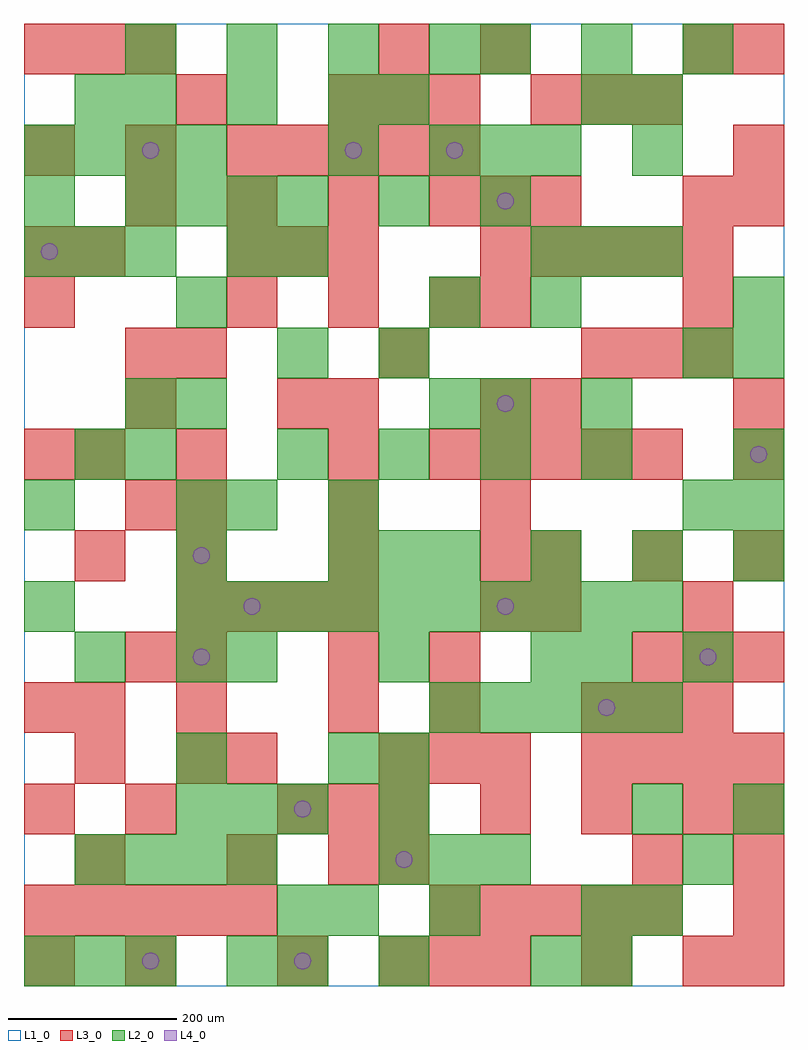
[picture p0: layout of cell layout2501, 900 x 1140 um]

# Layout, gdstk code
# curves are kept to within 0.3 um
import gdstk
lib = gdstk.Library(unit=1e-6, precision=1e-09)
def R(c, l, rs):  # rectangles x0, y0, x1, y1
    for r in rs: c.add(gdstk.rectangle(r[:2], r[2:], *l))
def A(c, l, x, y, w, h, nx, ny, dx, dy):  # array of equal rectangles
    R(c, l, [(x+i*dx, y+j*dy, x+i*dx+w, y+j*dy+h) for i in range(nx) for j in range(ny)])
def P(c, l, *ps):  # polygons
    for p in ps: c.add(gdstk.Polygon(p, *l))
L1_0 = (1, 0)
L2_0 = (2, 0)
L3_0 = (3, 0)
L4_0 = (4, 0)

layout2501 = lib.new_cell('layout2501')
R(layout2501, L1_0, [(0,0,900,1140)])
A(layout2501, L2_0, 0, 0, 60, 60, 3, 2, 60, 840)
A(layout2501, L2_0, 660, 60, 60, 60, 1, 3, 0, 300)
A(layout2501, L2_0, 60, 120, 60, 60, 4, 1, 60, 0)
A(layout2501, L2_0, 420, 120, 60, 60, 3, 1, 60, 0)
A(layout2501, L2_0, 180, 180, 60, 60, 3, 1, 60, 0)
A(layout2501, L2_0, 180, 240, 60, 60, 1, 3, 0, 120)
A(layout2501, L2_0, 480, 300, 60, 60, 5, 1, 60, 0)
A(layout2501, L2_0, 240, 360, 60, 60, 3, 1, 180, 0)
A(layout2501, L2_0, 780, 360, 60, 60, 1, 3, 0, 180)
A(layout2501, L2_0, 180, 420, 60, 60, 10, 1, 60, 0)
A(layout2501, L2_0, 360, 480, 60, 60, 3, 1, 60, 0)
A(layout2501, L2_0, 600, 480, 60, 60, 3, 1, 120, 0)
A(layout2501, L2_0, 180, 540, 60, 60, 1, 3, 0, 120)
A(layout2501, L2_0, 300, 600, 60, 60, 4, 1, 120, 0)
A(layout2501, L2_0, 600, 840, 60, 60, 3, 1, 60, 0)
A(layout2501, L2_0, 120, 900, 60, 60, 4, 1, 60, 0)
A(layout2501, L2_0, 0, 960, 60, 60, 4, 1, 60, 0)
A(layout2501, L2_0, 480, 960, 60, 60, 3, 1, 60, 0)
A(layout2501, L2_0, 120, 1020, 60, 60, 3, 1, 120, 0)
A(layout2501, L2_0, 120, 1080, 60, 60, 4, 1, 120, 0)
A(layout2501, L2_0, 540, 1080, 60, 60, 3, 1, 120, 0)
R(layout2501, L2_0, [(240,0,300,60), (300,0,360,60), (420,0,480,60), (600,0,660,60), (660,0,720,60), (300,60,360,120), (360,60,420,120), (480,60,540,120), (720,60,780,120), (780,120,840,180), (420,180,480,240), (720,180,780,240), (840,180,900,240), (360,240,420,300), (420,240,480,300), (60,360,120,420), (0,420,60,480), (0,540,60,600), (240,540,300,600), (360,540,420,600), (840,540,900,600), (60,600,120,660), (120,600,180,660), (840,600,900,660), (120,660,180,720), (480,660,540,720), (540,660,600,720), (300,720,360,780), (420,720,480,780), (840,720,900,780), (480,780,540,840), (600,780,660,840), (840,780,900,840), (240,840,300,900), (300,840,360,900), (0,900,60,960), (420,900,480,960), (540,900,600,960), (360,960,420,1020), (720,960,780,1020), (60,1020,120,1080), (420,1020,480,1080), (660,1020,720,1080), (720,1020,780,1080)])
A(layout2501, L3_0, 120, 0, 60, 60, 1, 4, 0, 180)
A(layout2501, L3_0, 420, 0, 60, 60, 3, 2, 60, 240)
A(layout2501, L3_0, 840, 0, 60, 60, 1, 4, 0, 60)
A(layout2501, L3_0, 0, 60, 60, 60, 5, 1, 60, 0)
A(layout2501, L3_0, 480, 60, 60, 60, 5, 2, 60, 540)
A(layout2501, L3_0, 300, 180, 60, 60, 3, 1, 60, 0)
A(layout2501, L3_0, 540, 180, 60, 60, 3, 1, 120, 0)
A(layout2501, L3_0, 180, 240, 60, 60, 1, 3, 0, 60)
A(layout2501, L3_0, 660, 240, 60, 60, 4, 1, 60, 0)
A(layout2501, L3_0, 660, 300, 60, 60, 3, 1, 60, 0)
A(layout2501, L3_0, 720, 360, 60, 60, 3, 1, 60, 0)
A(layout2501, L3_0, 180, 420, 60, 60, 4, 1, 60, 0)
A(layout2501, L3_0, 600, 420, 60, 60, 1, 3, 0, 240)
A(layout2501, L3_0, 180, 480, 60, 60, 3, 2, 180, 60)
A(layout2501, L3_0, 600, 480, 60, 60, 3, 1, 120, 0)
A(layout2501, L3_0, 540, 660, 60, 60, 1, 3, 0, 120)
A(layout2501, L3_0, 180, 720, 60, 60, 3, 1, 240, 0)
A(layout2501, L3_0, 240, 780, 60, 60, 3, 1, 120, 0)
A(layout2501, L3_0, 240, 840, 60, 60, 3, 1, 60, 0)
A(layout2501, L3_0, 540, 840, 60, 60, 5, 1, 60, 0)
A(layout2501, L3_0, 120, 900, 60, 60, 4, 1, 120, 0)
A(layout2501, L3_0, 0, 960, 60, 60, 3, 1, 120, 0)
A(layout2501, L3_0, 300, 960, 60, 60, 4, 1, 60, 0)
A(layout2501, L3_0, 360, 1020, 60, 60, 3, 1, 60, 0)
A(layout2501, L3_0, 600, 1020, 60, 60, 3, 1, 60, 0)
A(layout2501, L3_0, 0, 1080, 60, 60, 3, 1, 60, 0)
R(layout2501, L3_0, [(0,0,60,60), (300,0,360,60), (660,0,720,60), (780,0,840,60), (60,120,120,180), (240,120,300,180), (360,120,420,180), (420,120,480,180), (720,120,780,180), (0,180,60,240), (60,240,120,300), (240,240,300,300), (0,300,60,360), (60,300,120,360), (360,300,420,360), (480,300,540,360), (360,360,420,420), (480,360,540,420), (540,420,600,480), (780,420,840,480), (60,480,120,540), (0,600,60,660), (60,600,120,660), (180,600,240,660), (360,600,420,660), (840,600,900,660), (120,660,180,720), (300,660,360,720), (360,660,420,720), (840,660,900,720), (120,720,180,780), (720,720,780,780), (780,720,840,780), (0,780,60,840), (780,780,840,840), (0,840,60,900), (60,840,120,900), (780,900,840,960), (840,900,900,960), (840,960,900,1020), (180,1020,240,1080), (420,1080,480,1140), (540,1080,600,1140), (780,1080,840,1140), (840,1080,900,1140)])
P(layout2501, L4_0, [(40,870),(39.239,873.827),(37.071,877.071),(33.827,879.239),(30,880),(26.173,879.239),(22.929,877.071),(20.761,873.827),(20,870),(20.761,866.173),(22.929,862.929),(26.173,860.761),(30,860),(33.827,860.761),(37.071,862.929),(39.239,866.173)],
  [(160,30),(159.239,33.827),(157.071,37.071),(153.827,39.239),(150,40),(146.173,39.239),(142.929,37.071),(140.761,33.827),(140,30),(140.761,26.173),(142.929,22.929),(146.173,20.761),(150,20),(153.827,20.761),(157.071,22.929),(159.239,26.173)],
  [(160,990),(159.239,993.827),(157.071,997.071),(153.827,999.239),(150,1000),(146.173,999.239),(142.929,997.071),(140.761,993.827),(140,990),(140.761,986.173),(142.929,982.929),(146.173,980.761),(150,980),(153.827,980.761),(157.071,982.929),(159.239,986.173)],
  [(220,390),(219.239,393.827),(217.071,397.071),(213.827,399.239),(210,400),(206.173,399.239),(202.929,397.071),(200.761,393.827),(200,390),(200.761,386.173),(202.929,382.929),(206.173,380.761),(210,380),(213.827,380.761),(217.071,382.929),(219.239,386.173)],
  [(220,510),(219.239,513.827),(217.071,517.071),(213.827,519.239),(210,520),(206.173,519.239),(202.929,517.071),(200.761,513.827),(200,510),(200.761,506.173),(202.929,502.929),(206.173,500.761),(210,500),(213.827,500.761),(217.071,502.929),(219.239,506.173)],
  [(280,450),(279.239,453.827),(277.071,457.071),(273.827,459.239),(270,460),(266.173,459.239),(262.929,457.071),(260.761,453.827),(260,450),(260.761,446.173),(262.929,442.929),(266.173,440.761),(270,440),(273.827,440.761),(277.071,442.929),(279.239,446.173)],
  [(340,30),(339.239,33.827),(337.071,37.071),(333.827,39.239),(330,40),(326.173,39.239),(322.929,37.071),(320.761,33.827),(320,30),(320.761,26.173),(322.929,22.929),(326.173,20.761),(330,20),(333.827,20.761),(337.071,22.929),(339.239,26.173)],
  [(340,210),(339.239,213.827),(337.071,217.071),(333.827,219.239),(330,220),(326.173,219.239),(322.929,217.071),(320.761,213.827),(320,210),(320.761,206.173),(322.929,202.929),(326.173,200.761),(330,200),(333.827,200.761),(337.071,202.929),(339.239,206.173)],
  [(400,990),(399.239,993.827),(397.071,997.071),(393.827,999.239),(390,1000),(386.173,999.239),(382.929,997.071),(380.761,993.827),(380,990),(380.761,986.173),(382.929,982.929),(386.173,980.761),(390,980),(393.827,980.761),(397.071,982.929),(399.239,986.173)],
  [(460,150),(459.239,153.827),(457.071,157.071),(453.827,159.239),(450,160),(446.173,159.239),(442.929,157.071),(440.761,153.827),(440,150),(440.761,146.173),(442.929,142.929),(446.173,140.761),(450,140),(453.827,140.761),(457.071,142.929),(459.239,146.173)],
  [(520,990),(519.239,993.827),(517.071,997.071),(513.827,999.239),(510,1000),(506.173,999.239),(502.929,997.071),(500.761,993.827),(500,990),(500.761,986.173),(502.929,982.929),(506.173,980.761),(510,980),(513.827,980.761),(517.071,982.929),(519.239,986.173)],
  [(580,450),(579.239,453.827),(577.071,457.071),(573.827,459.239),(570,460),(566.173,459.239),(562.929,457.071),(560.761,453.827),(560,450),(560.761,446.173),(562.929,442.929),(566.173,440.761),(570,440),(573.827,440.761),(577.071,442.929),(579.239,446.173)],
  [(580,690),(579.239,693.827),(577.071,697.071),(573.827,699.239),(570,700),(566.173,699.239),(562.929,697.071),(560.761,693.827),(560,690),(560.761,686.173),(562.929,682.929),(566.173,680.761),(570,680),(573.827,680.761),(577.071,682.929),(579.239,686.173)],
  [(580,930),(579.239,933.827),(577.071,937.071),(573.827,939.239),(570,940),(566.173,939.239),(562.929,937.071),(560.761,933.827),(560,930),(560.761,926.173),(562.929,922.929),(566.173,920.761),(570,920),(573.827,920.761),(577.071,922.929),(579.239,926.173)],
  [(700,330),(699.239,333.827),(697.071,337.071),(693.827,339.239),(690,340),(686.173,339.239),(682.929,337.071),(680.761,333.827),(680,330),(680.761,326.173),(682.929,322.929),(686.173,320.761),(690,320),(693.827,320.761),(697.071,322.929),(699.239,326.173)],
  [(820,390),(819.239,393.827),(817.071,397.071),(813.827,399.239),(810,400),(806.173,399.239),(802.929,397.071),(800.761,393.827),(800,390),(800.761,386.173),(802.929,382.929),(806.173,380.761),(810,380),(813.827,380.761),(817.071,382.929),(819.239,386.173)],
  [(880,630),(879.239,633.827),(877.071,637.071),(873.827,639.239),(870,640),(866.173,639.239),(862.929,637.071),(860.761,633.827),(860,630),(860.761,626.173),(862.929,622.929),(866.173,620.761),(870,620),(873.827,620.761),(877.071,622.929),(879.239,626.173)])

lib.write_gds('layout2501.gds')
